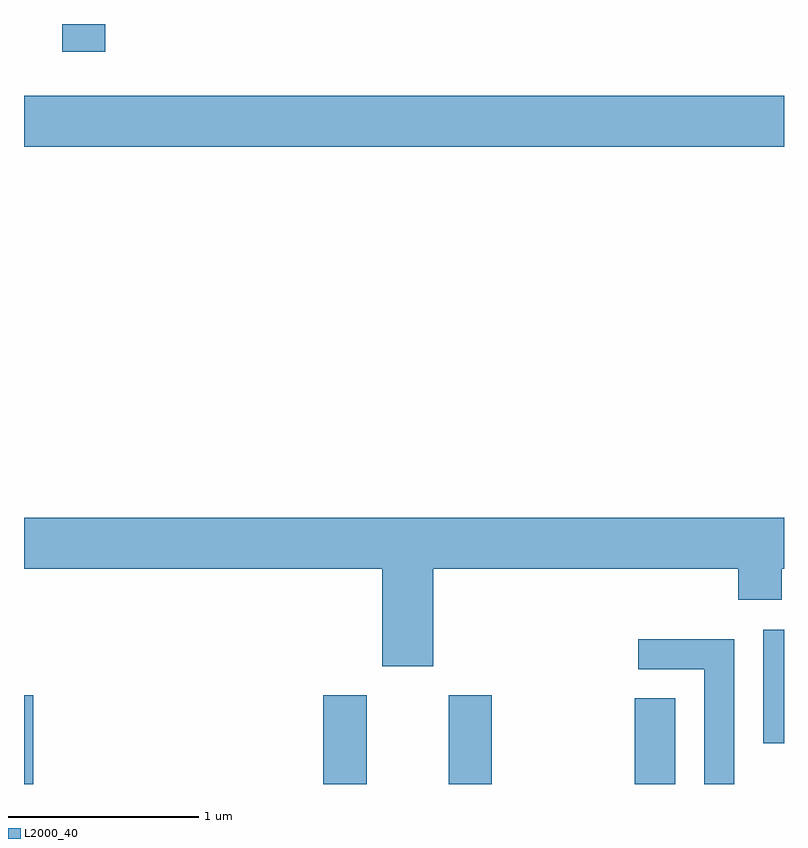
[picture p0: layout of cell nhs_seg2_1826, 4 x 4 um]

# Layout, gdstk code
import gdstk
lib = gdstk.Library(unit=1e-6, precision=1e-09)
def R(c, l, rs):  # rectangles x0, y0, x1, y1
    for r in rs: c.add(gdstk.rectangle(r[:2], r[2:], *l))
def P(c, l, *ps):  # polygons
    for p in ps: c.add(gdstk.Polygon(p, *l))
L2000_40 = (2000, 40)

nhs_seg2_1826 = lib.new_cell('nhs_seg2_1826')
R(nhs_seg2_1826, L2000_40, [(237.611,1093.802,237.659,1094.269), (239.186,1093.802,239.414,1094.269), (239.846,1093.802,240.074,1094.269), (240.826,1093.802,241.039,1094.254), (241.501,1094.016,241.611,1094.614), (237.611,1097.156,241.611,1097.424), (237.811,1097.656,238.039,1097.802)])
P(nhs_seg2_1826, L2000_40, [(239.764,1094.936),(241.371,1094.936),(241.371,1094.771),(241.599,1094.771),(241.599,1094.936),(241.611,1094.936),(241.611,1095.204),(237.611,1095.204),(237.611,1094.936),(239.496,1094.936),(239.496,1094.421),(239.764,1094.421)],
  [(241.349,1094.564),(240.843,1094.564),(240.843,1094.406),(241.191,1094.406),(241.191,1093.802),(241.349,1093.802)])

lib.write_gds('nhs_seg2_1826.gds')
